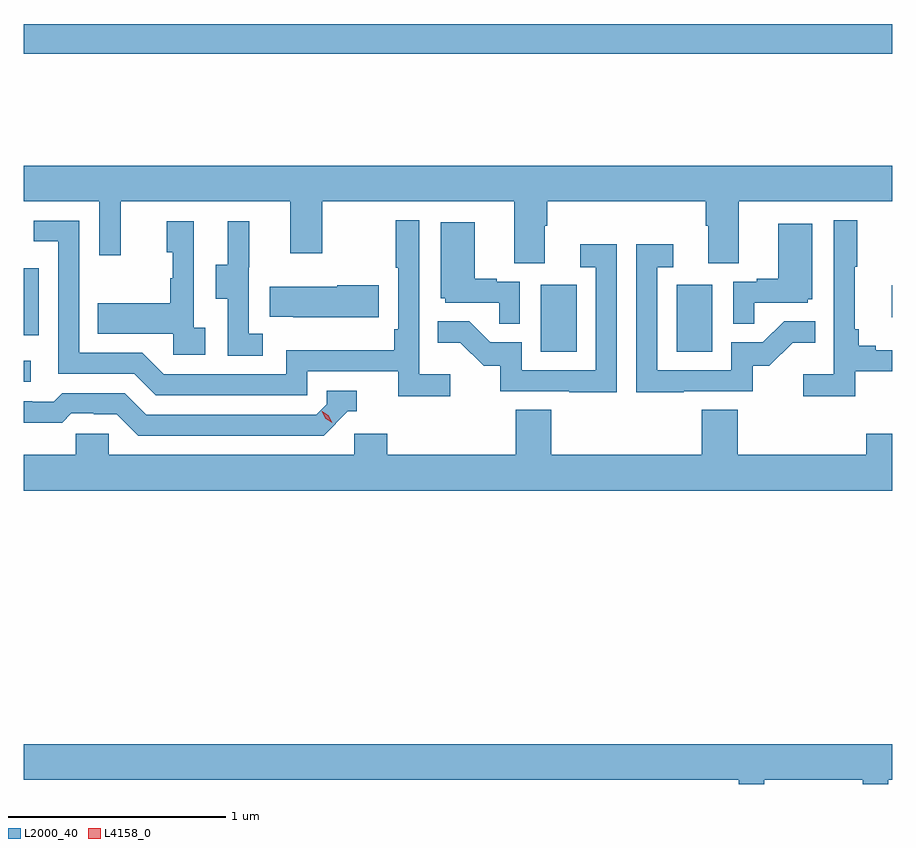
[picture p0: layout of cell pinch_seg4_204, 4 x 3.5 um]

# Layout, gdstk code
import gdstk
lib = gdstk.Library(unit=1e-6, precision=1e-09)
def R(c, l, rs):  # rectangles x0, y0, x1, y1
    for r in rs: c.add(gdstk.rectangle(r[:2], r[2:], *l))
def P(c, l, *ps):  # polygons
    for p in ps: c.add(gdstk.Polygon(p, *l))
L2000_40 = (2000, 40)
L4158_0 = (4158, 0)

pinch_seg4_204 = lib.new_cell('pinch_seg4_204')
R(pinch_seg4_204, L2000_40, [(984.158,826.626,984.19,826.722), (986.54,826.764,986.704,827.071), (987.164,826.764,987.328,827.071), (984.158,826.839,984.228,827.148), (988.155,826.922,988.158,827.07), (984.158,828.136,988.158,828.272)])
P(pinch_seg4_204, L2000_40, [(986.557,827.344),(986.57,827.344),(986.57,827.456),(987.299,827.456),(987.299,827.344),(987.311,827.344),(987.311,827.17),(987.451,827.17),(987.451,827.456),(988.158,827.456),(988.158,827.62),(984.158,827.62),(984.158,827.456),(984.507,827.456),(984.507,827.208),(984.605,827.208),(984.605,827.456),(985.385,827.456),(985.385,827.217),(985.533,827.217),(985.533,827.456),(986.417,827.456),(986.417,827.17),(986.557,827.17)],
  [(987.986,826.674),(988.158,826.674),(988.158,826.771),(988.081,826.771),(988.081,826.79),(988.004,826.79),(988.004,826.867),(987.985,826.867),(987.985,827.155),(987.997,827.155),(987.997,827.368),(987.888,827.368),(987.888,826.66),(987.747,826.66),(987.747,826.558),(987.986,826.558)],
  [(986.122,826.66),(985.98,826.66),(985.98,827.368),(985.872,827.368),(985.872,827.149),(985.884,827.149),(985.884,826.867),(985.864,826.867),(985.864,826.771),(985.368,826.771),(985.368,826.659),(984.804,826.659),(984.705,826.758),(984.414,826.758),(984.414,827.367),(984.205,827.367),(984.205,827.271),(984.318,827.271),(984.318,826.662),(984.668,826.662),(984.767,826.563),(985.464,826.563),(985.464,826.674),(985.883,826.674),(985.883,826.558),(986.122,826.558)],
  [(985.258,826.847),(985.194,826.847),(985.194,827.151),(985.196,827.151),(985.196,827.365),(985.097,827.365),(985.097,827.163),(985.043,827.163),(985.043,827.008),(985.098,827.008),(985.098,826.744),(985.258,826.744)],
  [(984.994,826.874),(984.942,826.874),(984.942,827.365),(984.818,827.365),(984.818,827.22),(984.844,827.22),(984.844,827.102),(984.834,827.102),(984.834,826.987),(984.499,826.987),(984.499,826.847),(984.846,826.847),(984.846,826.749),(984.994,826.749)],
  [(986.442,827.085),(986.336,827.085),(986.336,827.098),(986.236,827.098),(986.236,827.359),(986.078,827.359),(986.078,827.01),(986.1,827.01),(986.1,826.989),(986.347,826.989),(986.347,826.891),(986.442,826.891)],
  [(987.521,826.989),(987.768,826.989),(987.768,827.004),(987.79,827.004),(987.79,827.353),(987.632,827.353),(987.632,827.098),(987.533,827.098),(987.533,827.085),(987.426,827.085),(987.426,826.891),(987.521,826.891)],
  [(986.889,827.257),(986.721,827.257),(986.721,827.151),(986.793,827.151),(986.793,826.677),(986.451,826.677),(986.451,826.806),(986.307,826.806),(986.209,826.904),(986.065,826.904),(986.065,826.805),(986.169,826.805),(986.276,826.698),(986.353,826.698),(986.353,826.581),(986.671,826.581),(986.671,826.576),(986.889,826.576)],
  [(987.197,826.581),(987.516,826.581),(987.516,826.698),(987.592,826.698),(987.699,826.805),(987.803,826.805),(987.803,826.904),(987.659,826.904),(987.561,826.806),(987.417,826.806),(987.417,826.677),(987.075,826.677),(987.075,827.151),(987.148,827.151),(987.148,827.257),(986.979,827.257),(986.979,826.576),(987.197,826.576)],
  [(985.792,827.07),(985.601,827.07),(985.601,827.062),(985.291,827.062),(985.291,826.925),(985.399,826.925),(985.399,826.922),(985.792,826.922)],
  [(985.65,826.488),(985.693,826.488),(985.693,826.584),(985.554,826.584),(985.554,826.521),(985.506,826.473),(984.723,826.473),(984.624,826.572),(984.335,826.572),(984.296,826.533),(984.197,826.533),(984.197,826.536),(984.158,826.536),(984.158,826.437),(984.335,826.437),(984.377,826.479),(984.48,826.479),(984.48,826.476),(984.587,826.476),(984.686,826.377),(985.539,826.377)],
  [(988.158,826.386),(988.037,826.386),(988.037,826.288),(987.446,826.288),(987.446,826.496),(987.281,826.496),(987.281,826.288),(986.588,826.288),(986.588,826.496),(986.423,826.496),(986.423,826.288),(985.832,826.288),(985.832,826.386),(985.68,826.386),(985.68,826.288),(984.549,826.288),(984.549,826.386),(984.399,826.386),(984.399,826.288),(984.158,826.288),(984.158,826.124),(988.158,826.124)],
  [(987.568,824.792),(988.022,824.792),(988.022,824.773),(988.139,824.773),(988.139,824.792),(988.158,824.792),(988.158,824.956),(984.158,824.956),(984.158,824.792),(987.451,824.792),(987.451,824.773),(987.568,824.773)])
P(pinch_seg4_204, L4158_0, [(985.578,826.436),(985.548,826.455),(985.531,826.488),(985.531,826.488),(985.532,826.488),(985.562,826.469),(985.579,826.436),(985.579,826.436)])

lib.write_gds('pinch_seg4_204.gds')
